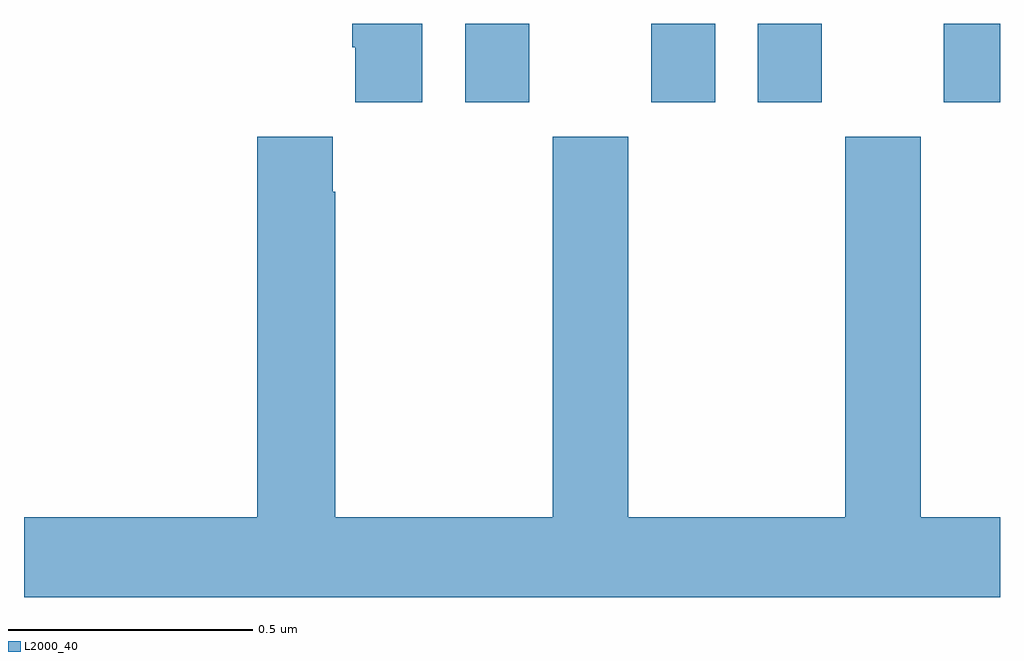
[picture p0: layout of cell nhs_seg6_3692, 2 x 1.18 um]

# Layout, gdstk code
import gdstk
lib = gdstk.Library(unit=1e-6, precision=1e-09)
def R(c, l, rs):  # rectangles x0, y0, x1, y1
    for r in rs: c.add(gdstk.rectangle(r[:2], r[2:], *l))
def P(c, l, *ps):  # polygons
    for p in ps: c.add(gdstk.Polygon(p, *l))
L2000_40 = (2000, 40)

nhs_seg6_3692 = lib.new_cell('nhs_seg6_3692')
R(nhs_seg6_3692, L2000_40, [(160.904,960.339,161.035,960.5), (161.285,960.339,161.416,960.5), (161.504,960.339,161.635,960.5), (161.885,960.339,162,960.5)])
P(nhs_seg6_3692, L2000_40, [(160.816,960.5),(160.673,960.5),(160.673,960.451),(160.679,960.451),(160.679,960.339),(160.816,960.339)],
  [(162,959.488),(161.838,959.488),(161.838,960.268),(161.683,960.268),(161.683,959.488),(161.238,959.488),(161.238,960.268),(161.083,960.268),(161.083,959.488),(160.638,959.488),(160.638,960.155),(160.633,960.155),(160.633,960.268),(160.478,960.268),(160.478,959.488),(160,959.488),(160,959.324),(162,959.324)])

lib.write_gds('nhs_seg6_3692.gds')
